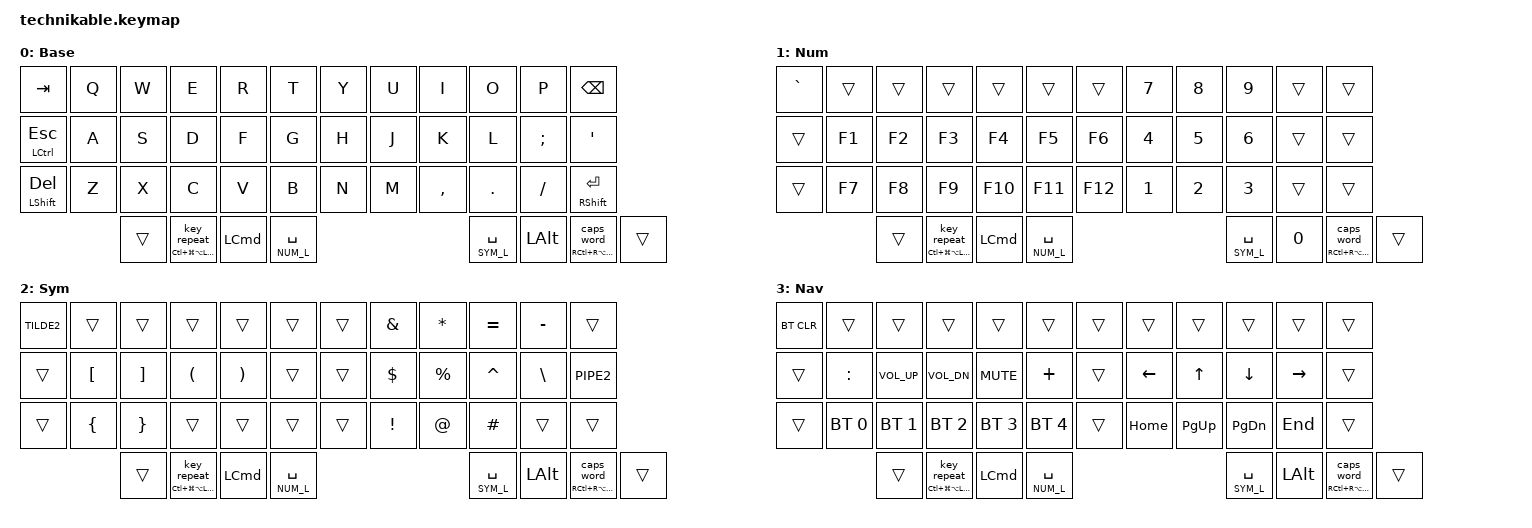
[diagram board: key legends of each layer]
/*
 * Copyright (c) 2022 Pete Johanson
 *
 * SPDX-License-Identifier: MIT
 */

#include <behaviors.dtsi>
#include <dt-bindings/zmk/keys.h>
#include <dt-bindings/zmk/bt.h>
#include <dt-bindings/zmk/outputs.h>

#define BAS_L 0
#define NUM_L 1
#define SYM_L 2
#define NAV_L 3

// Using layer taps on thumbs, having quick tap as well helps w/ repeating space/backspace
&lt { 
	quick_tap_ms = <25>;
	flavor = "tap-preferred";
};

#define BT(n) BT_SEL n

/ {
    combos {
        compatible = "zmk,combos";
        combo_undo {
            timeout-ms = <25>;
            key-positions = <25 26>;
	    layers = <0>;
            bindings = <&kp LG(Z)>;
        };
        combo_cut {
            timeout-ms = <25>;
            key-positions = <13 14>;
	    layers = <0>;
            bindings = <&kp LG(X)>;
        };
        combo_copy {
            timeout-ms = <25>;
            key-positions = <15 16>;
	    layers = <0>;
            bindings = <&kp LG(C)>;
        };
        combo_paste {
            timeout-ms = <25>;
            key-positions = <27 28>;
	    layers = <0>;
            bindings = <&kp LG(V)>;
        };
        combo_left {
            timeout-ms = <25>;
            key-positions = <19 20>;
	    layers = <0>;
            bindings = <&kp LEFT>;
        };
        combo_right {
            timeout-ms = <25>;
            key-positions = <20 21>;
	    layers = <0>;
            bindings = <&kp RIGHT>;
        };
        combo_up {
            timeout-ms = <25>;
            key-positions = <8 9>;
	    layers = <0>;
            bindings = <&kp UP>;
        };
        combo_down {
            timeout-ms = <25>;
            key-positions = <32 33>;
	    layers = <0>;
            bindings = <&kp DOWN>;
        };
        combo_end {
            timeout-ms = <25>;
            key-positions = <31 32>;
	    layers = <0>;
            bindings = <&kp END>;
        };
        combo_home {
            timeout-ms = <25>;
            key-positions = <7 8>;
	    layers = <0>;
            bindings = <&kp HOME>;
        };
    };

    conditional_layers {
        compatible = "zmk,conditional-layers";
	tri_layer {
	    if-layers = <NUM_L SYM_L>;
	    then-layer = <NAV_L>;
	};
    };

    behaviors {
	hypr: hyper_combo_key_repeat {
	    compatible = "zmk,behavior-hold-tap";
	    #binding-cells = <2>;
	    retro-tap;
	    tapping-term-ms = <75>;
	    quick-tap-ms = <50>;
	    bindings = <&kp>, <&key_repeat>;
	};

	meh: meh_combo_caps_word {
	    compatible = "zmk,behavior-hold-tap";
	    #binding-cells = <2>;
	    retro-tap;
	    tapping-term-ms = <75>;
	    quick-tap-ms = <50>;
	    bindings = <&kp>, <&caps_word>;
	};
};

    keymap {
        compatible = "zmk,keymap";

        base_layer {
            label = "Base";
            bindings = <
 &kp TAB    	 &kp Q      &kp W      &kp E       &kp R          &kp T          	&kp Y            &kp U          &kp I       &kp O      &kp P         &kp BSPC
 &mt LCTRL ESC   &kp A      &kp S      &kp D       &kp F          &kp G          	&kp H            &kp J          &kp K       &kp L      &kp SEMI      &kp SQT
 &mt LSHIFT DEL  &kp Z      &kp X      &kp C       &kp V          &kp B          	&kp N            &kp M          &kp COMMA   &kp DOT    &kp FSLH      &mt RSHIFT RET
                       	     &trans &hypr LC(LG(LA(LSHFT))) 0  &kp LCMD      &lt NUM_L SPACE      		&lt SYM_L SPACE        &kp LALT      &meh RC(RA(RSHFT)) 0  &trans
            >;
        };

        num_layer {
            label = "Num";
            bindings = <
 &kp GRAVE	 &trans     &trans     &trans      &trans         &trans          	&trans           &kp N7      &kp N8   &kp N9    &trans      &trans
 &trans     	 &kp F1     &kp F2     &kp F3      &kp F4         &kp F5         	&kp F6           &kp N4      &kp N5   &kp N6    &trans      &trans
 &trans		 &kp F7     &kp F8     &kp F9      &kp F10        &kp F11        	&kp F12          &kp N1      &kp N2   &kp N3    &trans      &trans
                       	     &trans &hypr LC(LG(LA(LSHFT))) 0    &kp LCMD      &lt NUM_L SPACE      		&lt SYM_L SPACE        &kp N0      &meh RC(RA(RSHFT)) 0  &trans
            >;
        };


        sym_layer {
            label = "Sym";
            bindings = <
 &kp TILDE2 	 &trans     &trans     &trans       &trans         &trans          	&trans            &kp AMPS       &kp STAR    &kp EQUAL  &kp MINUS   &trans
 &trans    	 &kp LBKT   &kp RBKT   &kp LPAR     &kp RPAR       &trans          	&trans            &kp DLLR       &kp PRCNT   &kp CARET  &kp BSLH    &kp PIPE2
 &trans		 &kp LBRC   &kp RBRC   &trans       &trans         &trans          	&trans            &kp EXCL       &kp AT      &kp HASH   &trans      &trans
                       	    &trans  &hypr LC(LG(LA(LSHFT))) 0  &kp LCMD      &lt NUM_L SPACE      		&lt SYM_L SPACE        &kp LALT      &meh RC(RA(RSHFT)) 0   &trans
            >;
        };

  nav_layer {
            label = "Nav";
            bindings = <
&bt BT_CLR &trans        &trans       &trans        &trans         &trans	     	&trans       &trans      &trans       &trans         &trans        &trans
&trans     &kp COLON     &kp C_VOL_UP &kp C_VOL_DN  &kp C_MUTE     &kp PLUS     	&trans       &kp LEFT    &kp UP       &kp DOWN       &kp RIGHT     &trans
&trans     &bt BT_SEL 0  &bt BT_SEL 1 &bt BT_SEL 2  &bt BT_SEL 3   &bt BT_SEL 4 	&trans	     &kp HOME    &kp PG_UP    &kp PG_DN      &kp END       &trans
                       	     &trans &hypr LC(LG(LA(LSHFT))) 0  &kp LCMD      &lt NUM_L SPACE      		&lt SYM_L SPACE        &kp LALT      &meh RC(RA(RSHFT)) 0  &trans  
            >;
        };

    };
};
